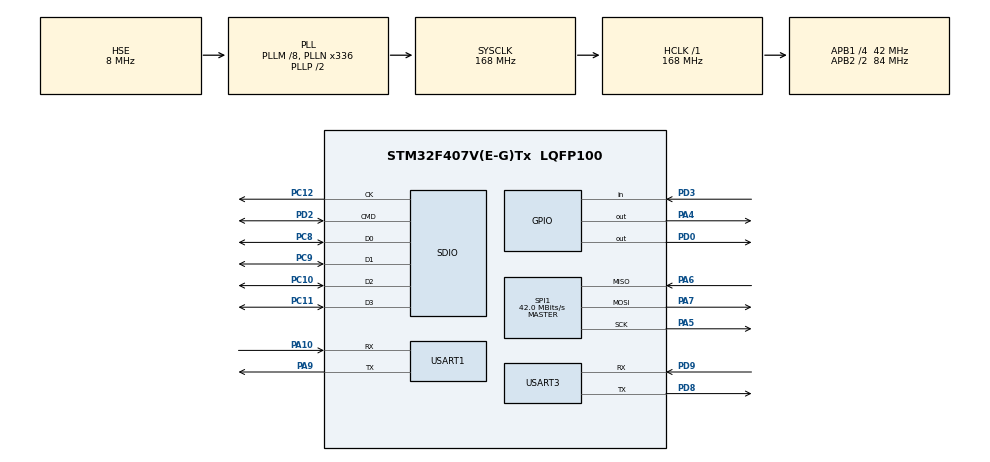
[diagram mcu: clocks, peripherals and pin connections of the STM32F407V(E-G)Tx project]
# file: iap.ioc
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FATFS.USE_DMA_CODE_SD=0
FATFS._CODE_PAGE=437
FATFS._LFN_UNICODE=0
FATFS._USE_LFN=2
Mcu.Family=STM32F4
Mcu.Name=STM32F407V(E-G)Tx
Mcu.Package=LQFP100
NVIC.PriorityGroup=NVIC_PRIORITYGROUP_4
PA10.Mode=Asynchronous
PA10.Signal=USART1_RX
PA13.Mode=Serial_Wire
PA13.Signal=SYS_JTMS-SWDIO
PA14.Mode=Serial_Wire
PA14.Signal=SYS_JTCK-SWCLK
PA4.Signal=GPIO_Output
PA5.Mode=Full_Duplex_Master
PA5.Signal=SPI1_SCK
PA6.Mode=Full_Duplex_Master
PA6.Signal=SPI1_MISO
PA7.Mode=Full_Duplex_Master
PA7.Signal=SPI1_MOSI
PA9.Mode=Asynchronous
PA9.Signal=USART1_TX
PC10.Mode=SD_4_bits_Wide_bus
PC10.Signal=SDIO_D2
PC11.Mode=SD_4_bits_Wide_bus
PC11.Signal=SDIO_D3
PC12.Mode=SD_4_bits_Wide_bus
PC12.Signal=SDIO_CK
PC8.Mode=SD_4_bits_Wide_bus
PC8.Signal=SDIO_D0
PC9.Mode=SD_4_bits_Wide_bus
PC9.Signal=SDIO_D1
PD0.Signal=GPIO_Output
PD2.Mode=SD_4_bits_Wide_bus
PD2.Signal=SDIO_CMD
PD3.Signal=GPIO_Input
PD8.Mode=Asynchronous
PD8.Signal=USART3_TX
PD9.Mode=Asynchronous
PD9.Signal=USART3_RX
PH0-OSC_IN.Mode=HSE-External-Oscillator
PH0-OSC_IN.Signal=RCC_OSC_IN
PH1-OSC_OUT.Mode=HSE-External-Oscillator
PH1-OSC_OUT.Signal=RCC_OSC_OUT
ProjectManager.HeapSize=0x200
ProjectManager.StackSize=0x1000
ProjectManager.TargetToolchain=MDK-ARM V5
RCC.48MHZClocksFreq_Value=48000000
RCC.AHBFreq_Value=168000000
RCC.APB1CLKDivider=RCC_HCLK_DIV4
RCC.APB1Freq_Value=42000000
RCC.APB1TimFreq_Value=84000000
RCC.APB2CLKDivider=RCC_HCLK_DIV2
RCC.APB2Freq_Value=84000000
RCC.APB2TimFreq_Value=168000000
RCC.CortexFreq_Value=168000000
RCC.HCLKFreq_Value=168000000
RCC.HSE_VALUE=8000000
RCC.HSI_VALUE=16000000
RCC.LSE_VALUE=32768
RCC.PLLM=8
RCC.PLLN=336
RCC.PLLQ=7
RCC.PLLSourceVirtual=RCC_PLLSOURCE_HSE
RCC.SYSCLKFreq_VALUE=168000000
RCC.SYSCLKSource=RCC_SYSCLKSOURCE_PLLCLK
RCC.VCOOutputFreq_Value=336000000
SPI1.BaudRatePrescaler=SPI_BAUDRATEPRESCALER_2
SPI1.CalculateBaudRate=42.0 MBits/s
SPI1.Direction=SPI_DIRECTION_2LINES
SPI1.Mode=SPI_MODE_MASTER
SPI1.VirtualType=VM_MASTER
USART1.VirtualMode=VM_ASYNC
USART3.VirtualMode=VM_ASYNC
VP_CRC_VS_CRC.Mode=CRC_Activate
VP_FATFS_VS_SDIO.Mode=SDIO
board=iap

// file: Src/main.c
/**
  ******************************************************************************
  * @file           : main.c
  * @brief          : Main program body
  ******************************************************************************
  * This notice applies to any and all portions of this file
  * that are not between comment pairs USER CODE BEGIN and
  * USER CODE END. Other portions of this file, whether
  * inserted by the user or by software development tools
  * are owned by their respective copyright owners.
  *
  * Copyright (c) 2018 STMicroelectronics International N.V.
  * All rights reserved.
  *
  * Redistribution and use in source and binary forms, with or without
  * modification, are permitted, provided that the following conditions are met:
  *
  * 1. Redistribution of source code must retain the above copyright notice,
  *    this list of conditions and the following disclaimer.
  * 2. Redistributions in binary form must reproduce the above copyright notice,
  *    this list of conditions and the following disclaimer in the documentation
  *    and/or other materials provided with the distribution.
  * 3. Neither the name of STMicroelectronics nor the names of other
  *    contributors to this software may be used to endorse or promote products
  *    derived from this software without specific written permission.
  * 4. This software, including modifications and/or derivative works of this
  *    software, must execute solely and exclusively on microcontroller or
  *    microprocessor devices manufactured by or for STMicroelectronics.
  * 5. Redistribution and use of this software other than as permitted under
  *    this license is void and will automatically terminate your rights under
  *    this license.
  *
  * THIS SOFTWARE IS PROVIDED BY STMICROELECTRONICS AND CONTRIBUTORS "AS IS"
  * AND ANY EXPRESS, IMPLIED OR STATUTORY WARRANTIES, INCLUDING, BUT NOT
  * LIMITED TO, THE IMPLIED WARRANTIES OF MERCHANTABILITY, FITNESS FOR A
  * PARTICULAR PURPOSE AND NON-INFRINGEMENT OF THIRD PARTY INTELLECTUAL PROPERTY
  * RIGHTS ARE DISCLAIMED TO THE FULLEST EXTENT PERMITTED BY LAW. IN NO EVENT
  * SHALL STMICROELECTRONICS OR CONTRIBUTORS BE LIABLE FOR ANY DIRECT, INDIRECT,
  * INCIDENTAL, SPECIAL, EXEMPLARY, OR CONSEQUENTIAL DAMAGES (INCLUDING, BUT NOT
  * LIMITED TO, PROCUREMENT OF SUBSTITUTE GOODS OR SERVICES; LOSS OF USE, DATA,
  * OR PROFITS; OR BUSINESS INTERRUPTION) HOWEVER CAUSED AND ON ANY THEORY OF
  * LIABILITY, WHETHER IN CONTRACT, STRICT LIABILITY, OR TORT (INCLUDING
  * NEGLIGENCE OR OTHERWISE) ARISING IN ANY WAY OUT OF THE USE OF THIS SOFTWARE,
  * EVEN IF ADVISED OF THE POSSIBILITY OF SUCH DAMAGE.
  *
  ******************************************************************************
  */
#include "main.h"
#include "stm32f4xx_hal.h"
#include "common.h"
#include "fatfs.h"

/* USER CODE BEGIN Includes */
#include <sfud.h>
#include <fal.h>
#include "ymodem.h"

/* USER CODE END Includes */
typedef  void (*pFunction)(void);

CRC_HandleTypeDef hcrc;

SD_HandleTypeDef hsd;

SPI_HandleTypeDef hspi1;

UART_HandleTypeDef huart1;
UART_HandleTypeDef huart3;

/* USER CODE BEGIN PV */
/* Private variables ---------------------------------------------------------*/
sfud_flash sfud_norflash0;
const struct fal_partition *part;
#define IAP_PAGE_SIZE 4096
uint8_t iap_buffer[IAP_PAGE_SIZE] __attribute__((aligned(4)));

uint8_t aFileName[FILE_NAME_LENGTH];
pFunction JumpToApplication;
uint32_t JumpAddress;

/* USER CODE END PV */

void SystemClock_Config(void);
static void MX_GPIO_Init(void);
static void MX_SDIO_SD_Init(void);
static void MX_SPI1_Init(void);
static void MX_USART1_UART_Init(void);
static void MX_USART3_UART_Init(void);
static void MX_CRC_Init(void);

/* USER CODE BEGIN PFP */
/* Private function prototypes -----------------------------------------------*/

/* USER CODE END PFP */

/* USER CODE BEGIN 0 */
void FLASH_If_Init(void)
{
  /* Unlock the Program memory */
  HAL_FLASH_Unlock();

  /* Clear all FLASH flags */
  //__HAL_FLASH_CLEAR_FLAG(FLASH_FLAG_EOP | FLASH_FLAG_PGSERR | FLASH_FLAG_WRPERR | FLASH_FLAG_OPTVERR);

  __HAL_FLASH_CLEAR_FLAG(FLASH_FLAG_EOP | FLASH_FLAG_OPERR | FLASH_FLAG_WRPERR | FLASH_FLAG_PGAERR | FLASH_FLAG_PGPERR| FLASH_FLAG_PGSERR);
  /* Unlock the Program memory */
  HAL_FLASH_Lock();
}
/* USER CODE END 0 */

int main(void)
{
  /* USER CODE BEGIN 1 */
    uint32_t byte_read_count = 0;

  /* USER CODE END 1 */

  /* MCU Configuration----------------------------------------------------------*/

  /* Reset of all peripherals, Initializes the Flash interface and the Systick. */
  HAL_Init();

  /* Configure the system clock */
  SystemClock_Config();

  /* Initialize all configured peripherals */
  MX_GPIO_Init();
  MX_SDIO_SD_Init();
  MX_SPI1_Init();
  MX_FATFS_Init();
  MX_USART1_UART_Init();
  MX_USART3_UART_Init();
  MX_CRC_Init();
  /* USER CODE BEGIN 2 */

    fal_init();
    part = fal_partition_find("app");
    if(part != NULL)
    {
        printf("fal find app partition!\r\n");
    }
    else
    {
        printf("fal can not find app partition!\r\n");

    }
    //FLASH_If_Init();
    //sd update app
	do {

		if(f_mount(&SDFatFS,(const TCHAR *)"0:/",0) == RES_OK)
		{
			printf("FatFs mount ok!\r\n");
		}
		else
		{
			printf("FatFs mount fail!\r\n");
			break;
		}
		uint32_t ret = f_open(&SDFile, (const TCHAR *)"0:/eQ1620.bin",FA_OPEN_EXISTING|FA_READ);

		if(ret == FR_OK)
		{
			printf("Open file ok!\r\n");
		}
		else
		{
			printf("Open file fail! ret = %d\r\n",ret);
			break;
		}

		fal_partition_erase_all(part);
        printf("App partition erase ok!\r\n");
        uint8_t i;
        for(i = 0; ; i ++)
        {
            FRESULT rt = f_read(&SDFile,iap_buffer,IAP_PAGE_SIZE,&byte_read_count);
            printf("%3d byte_read_count = %d\r\n",i,byte_read_count);
            if(rt != FR_OK || byte_read_count == 0)
            {
                break;
            }
            if(byte_read_count < IAP_PAGE_SIZE)
            {
                fal_partition_write(part, i * IAP_PAGE_SIZE,iap_buffer,byte_read_count);
                break;
            }
            else
            {
                fal_partition_write(part, i * IAP_PAGE_SIZE,iap_buffer,IAP_PAGE_SIZE);
            }
            memset(iap_buffer,0,IAP_PAGE_SIZE);
        }
		f_close(&SDFile);
        printf("Copy file ok!\r\n");

	}while(0);

  //ymodem update app
  do{
    printf("Wait for download app from PC!\r\n");
    /* Clean the input path */
    __HAL_UART_FLUSH_DRREGISTER(&huart1);
    __HAL_UART_CLEAR_FLAG(&uart1, UART_FLAG_RXNE);

    uint8_t number[11] = {0};
    uint8_t key = 0;
    uint32_t ret = HAL_UART_Receive(&huart1, &key, 1, RX_TIMEOUT);
    if(ret == HAL_TIMEOUT)
    {
        printf("WAIT CMD time out!\r\n");
        break;
    }
    if(key != 0x01) break;

    uint32_t size = 0;
    COM_StatusTypeDef result = Ymodem_Receive( &size );

    if (result == COM_OK)
    {
      printf( "Programming Completed Successfully!\n\r--------------------------------\r\n Name: ");
      printf(aFileName);
      Int2Str(number, size);
      printf("\n\r Size: ");
      printf(number);
      printf(" Bytes\r\n");
      printf("-------------------\n");
    }
    else if (result == COM_LIMIT)
    {
      printf("\n\n\rThe image size is higher than the allowed space memory!\n\r");
    }
    else if (result == COM_DATA)
    {
      printf("\n\n\rVerification failed!\n\r");
    }
    else if (result == COM_ABORT)
    {
      printf("\r\n\nAborted by user.\n\r");
    }
    else
    {
      printf("\n\rFailed to receive the file!\n\r");
    }
  }while(0);

    printf("Jump to application!\r\n");
    /* execute the new program */
    JumpAddress = *(volatile uint32_t*) (APP_ADDRESS + 4);
    /* Jump to user application */
    JumpToApplication = (pFunction) JumpAddress;
    /* Initialize user application's Stack Pointer */
    __set_MSP(*(volatile uint32_t*) APP_ADDRESS);
    JumpToApplication();

  /* USER CODE END 2 */

  /* Infinite loop */
    while (1)
    {

    }

}

void SystemClock_Config(void)
{

  RCC_OscInitTypeDef RCC_OscInitStruct;
  RCC_ClkInitTypeDef RCC_ClkInitStruct;

    /**Configure the main internal regulator output voltage
    */
  __HAL_RCC_PWR_CLK_ENABLE();

  __HAL_PWR_VOLTAGESCALING_CONFIG(PWR_REGULATOR_VOLTAGE_SCALE1);

    /**Initializes the CPU, AHB and APB busses clocks
    */
  RCC_OscInitStruct.OscillatorType = RCC_OSCILLATORTYPE_HSE;
  RCC_OscInitStruct.HSEState = RCC_HSE_ON;
  RCC_OscInitStruct.PLL.PLLState = RCC_PLL_ON;
  RCC_OscInitStruct.PLL.PLLSource = RCC_PLLSOURCE_HSE;
  RCC_OscInitStruct.PLL.PLLM = 8;
  RCC_OscInitStruct.PLL.PLLN = 336;
  RCC_OscInitStruct.PLL.PLLP = RCC_PLLP_DIV2;
  RCC_OscInitStruct.PLL.PLLQ = 7;
  if (HAL_RCC_OscConfig(&RCC_OscInitStruct) != HAL_OK)
  {
    _Error_Handler(__FILE__, __LINE__);
  }

    /**Initializes the CPU, AHB and APB busses clocks
    */
  RCC_ClkInitStruct.ClockType = RCC_CLOCKTYPE_HCLK|RCC_CLOCKTYPE_SYSCLK
                              |RCC_CLOCKTYPE_PCLK1|RCC_CLOCKTYPE_PCLK2;
  RCC_ClkInitStruct.SYSCLKSource = RCC_SYSCLKSOURCE_PLLCLK;
  RCC_ClkInitStruct.AHBCLKDivider = RCC_SYSCLK_DIV1;
  RCC_ClkInitStruct.APB1CLKDivider = RCC_HCLK_DIV4;
  RCC_ClkInitStruct.APB2CLKDivider = RCC_HCLK_DIV2;

  if (HAL_RCC_ClockConfig(&RCC_ClkInitStruct, FLASH_LATENCY_5) != HAL_OK)
  {
    _Error_Handler(__FILE__, __LINE__);
  }

    /**Configure the Systick interrupt time
    */
  HAL_SYSTICK_Config(HAL_RCC_GetHCLKFreq()/1000);

    /**Configure the Systick
    */
  HAL_SYSTICK_CLKSourceConfig(SYSTICK_CLKSOURCE_HCLK);

  /* SysTick_IRQn interrupt configuration */
  HAL_NVIC_SetPriority(SysTick_IRQn, 0, 0);
}

/* CRC init function */
static void MX_CRC_Init(void)
{

  hcrc.Instance = CRC;
  if (HAL_CRC_Init(&hcrc) != HAL_OK)
  {
    _Error_Handler(__FILE__, __LINE__);
  }

}

/* SDIO init function */
static void MX_SDIO_SD_Init(void)
{

  hsd.Instance = SDIO;
  hsd.Init.ClockEdge = SDIO_CLOCK_EDGE_RISING;
  hsd.Init.ClockBypass = SDIO_CLOCK_BYPASS_DISABLE;
  hsd.Init.ClockPowerSave = SDIO_CLOCK_POWER_SAVE_DISABLE;
  hsd.Init.BusWide = SDIO_BUS_WIDE_1B;
  hsd.Init.HardwareFlowControl = SDIO_HARDWARE_FLOW_CONTROL_DISABLE;
  hsd.Init.ClockDiv = 0;

}

/* SPI1 init function */
static void MX_SPI1_Init(void)
{

  /* SPI1 parameter configuration*/
  hspi1.Instance = SPI1;
  hspi1.Init.Mode = SPI_MODE_MASTER;
  hspi1.Init.Direction = SPI_DIRECTION_2LINES;
  hspi1.Init.DataSize = SPI_DATASIZE_8BIT;
  hspi1.Init.CLKPolarity = SPI_POLARITY_LOW;
  hspi1.Init.CLKPhase = SPI_PHASE_1EDGE;
  hspi1.Init.NSS = SPI_NSS_SOFT;
  hspi1.Init.BaudRatePrescaler = SPI_BAUDRATEPRESCALER_2;
  hspi1.Init.FirstBit = SPI_FIRSTBIT_MSB;
  hspi1.Init.TIMode = SPI_TIMODE_DISABLE;
  hspi1.Init.CRCCalculation = SPI_CRCCALCULATION_DISABLE;
  hspi1.Init.CRCPolynomial = 10;
  if (HAL_SPI_Init(&hspi1) != HAL_OK)
  {
    _Error_Handler(__FILE__, __LINE__);
  }

}

/* USART1 init function */
static void MX_USART1_UART_Init(void)
{

  huart1.Instance = USART1;
  huart1.Init.BaudRate = 115200;
  huart1.Init.WordLength = UART_WORDLENGTH_8B;
  huart1.Init.StopBits = UART_STOPBITS_1;
  huart1.Init.Parity = UART_PARITY_NONE;
  huart1.Init.Mode = UART_MODE_TX_RX;
  huart1.Init.HwFlowCtl = UART_HWCONTROL_NONE;
  huart1.Init.OverSampling = UART_OVERSAMPLING_16;
  if (HAL_UART_Init(&huart1) != HAL_OK)
  {
    _Error_Handler(__FILE__, __LINE__);
  }

}

/* USART3 init function */
static void MX_USART3_UART_Init(void)
{

  huart3.Instance = USART3;
  huart3.Init.BaudRate = 115200;
  huart3.Init.WordLength = UART_WORDLENGTH_8B;
  huart3.Init.StopBits = UART_STOPBITS_1;
  huart3.Init.Parity = UART_PARITY_NONE;
  huart3.Init.Mode = UART_MODE_TX_RX;
  huart3.Init.HwFlowCtl = UART_HWCONTROL_NONE;
  huart3.Init.OverSampling = UART_OVERSAMPLING_16;
  if (HAL_UART_Init(&huart3) != HAL_OK)
  {
    _Error_Handler(__FILE__, __LINE__);
  }

}

/** Configure pins as
        * Analog
        * Input
        * Output
        * EVENT_OUT
        * EXTI
*/
static void MX_GPIO_Init(void)
{

  GPIO_InitTypeDef GPIO_InitStruct;

  /* GPIO Ports Clock Enable */
  __HAL_RCC_GPIOH_CLK_ENABLE();
  __HAL_RCC_GPIOA_CLK_ENABLE();
  __HAL_RCC_GPIOD_CLK_ENABLE();
  __HAL_RCC_GPIOC_CLK_ENABLE();

  /*Configure GPIO pin Output Level */
  HAL_GPIO_WritePin(GPIOA, GPIO_PIN_4, GPIO_PIN_RESET);

  /*Configure GPIO pin Output Level */
  HAL_GPIO_WritePin(GPIOD, GPIO_PIN_0, GPIO_PIN_RESET);

  /*Configure GPIO pin : PA4 */
  GPIO_InitStruct.Pin = GPIO_PIN_4;
  GPIO_InitStruct.Mode = GPIO_MODE_OUTPUT_PP;
  GPIO_InitStruct.Pull = GPIO_NOPULL;
  GPIO_InitStruct.Speed = GPIO_SPEED_FREQ_LOW;
  HAL_GPIO_Init(GPIOA, &GPIO_InitStruct);

  /*Configure GPIO pin : PD0 */
  GPIO_InitStruct.Pin = GPIO_PIN_0;
  GPIO_InitStruct.Mode = GPIO_MODE_OUTPUT_PP;
  GPIO_InitStruct.Pull = GPIO_NOPULL;
  GPIO_InitStruct.Speed = GPIO_SPEED_FREQ_LOW;
  HAL_GPIO_Init(GPIOD, &GPIO_InitStruct);

  /*Configure GPIO pin : PD3 */
  GPIO_InitStruct.Pin = GPIO_PIN_3;
  GPIO_InitStruct.Mode = GPIO_MODE_INPUT;
  GPIO_InitStruct.Pull = GPIO_NOPULL;
  HAL_GPIO_Init(GPIOD, &GPIO_InitStruct);

}

/* USER CODE BEGIN 4 */
uint8_t SPI1_ReadWriteByte(uint8_t TxData)
{
    uint8_t Rxdata;
    HAL_SPI_TransmitReceive(&hspi1,&TxData,&Rxdata,1, 1000);
 	return Rxdata;
}

int fputc(int ch, FILE *f)
{
//	uint8_t tmp[1] = {ch};
//	HAL_UART_Transmit(&huart3,tmp,1,2);
//    return 1;
	while((__HAL_UART_GET_FLAG(&huart3,UART_FLAG_TXE) == RESET));
	huart3.Instance->DR = ch;

}

int fgetc(FILE *f)
{

}
/* USER CODE END 4 */

void _Error_Handler(char *file, int line)
{
  while(1)
  {
  }
}

/************************ (C) COPYRIGHT STMicroelectronics *****END OF FILE****/
